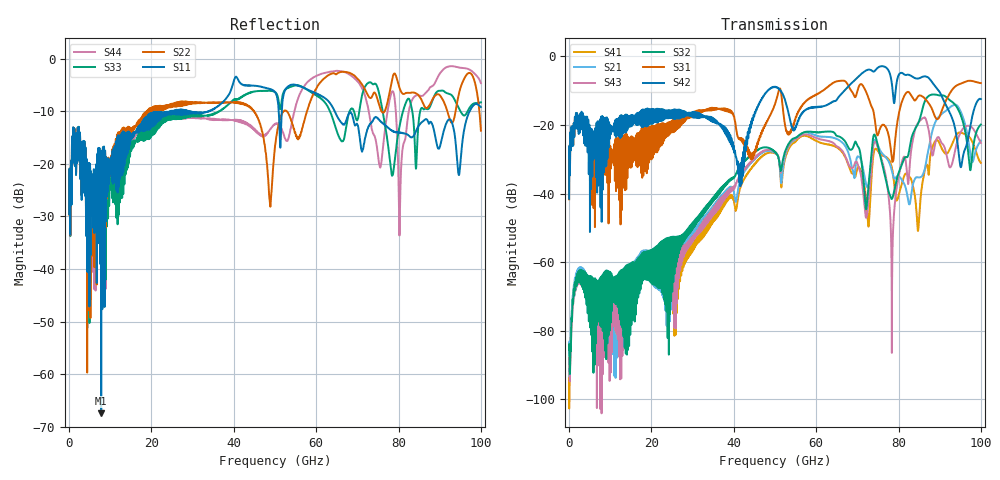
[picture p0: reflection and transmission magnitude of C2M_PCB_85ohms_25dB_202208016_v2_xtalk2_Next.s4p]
! Info: Touchstone file created by Circ.  Input file=Intel_C2M_200G_10p5in_202208016_staggered.circ
# Hz S RI R 50
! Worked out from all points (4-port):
!   10000 points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, 10 MHz to 100 GHz, reference 50 ohm
!   strongest paths, dB at 10 MHz, 25.01 GHz, 50.01 GHz, 75.01 GHz, 100 GHz:
!     S42: -41.5, -17.6, -8.9, -3.3, -12.5
!     S31: -41.7, -21.6, -13.9, -22.8, -7.8
!     S32: -83.9, -59.4, -28.0, -26.1, -19.9
!     S43: -87.8, -60.6, -28.0, -26.7, -25.2
!     S21: -93.2, -63.4, -28.2, -26.0, -24.6
!     S41: -91.6, -62.4, -28.3, -27.6, -31.1
!   lowest |S11| = -67.5 dB at 7.8 GHz (marker M1), VSWR 1.00, Z = 50 - j0.0408 ohm
!   |S11| at or under -10 dB: start of sweep to 24.41 GHz; 29.52 GHz to 33.8 GHz (4.279 GHz wide, 13.5 % of centre); 64.49 GHz to 97.26 GHz (32.77 GHz wide, 40.5 % of centre)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
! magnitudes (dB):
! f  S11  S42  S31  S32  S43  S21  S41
! 10 MHz  -29.5  -41.5  -41.7  -83.9  -87.8  -93.2  -91.6
! 7.8 GHz  -67.5  -17.6  -20.4  -65.1  -69.5  -67.5  -71.0
! 56.51 GHz  -5.3  -16.8  -14.4  -22.5  -23.0  -22.5  -23.3
! 74.53 GHz  -11.1  -3.8  -21.1  -23.8  -25.2  -24.7  -27.0
! 78.43 GHz  -13.7  -8.4  -30.2  -41.5  -66.7  -33.6  -32.7
! 85.11 GHz  -12.5  -6.3  -11.4  -18.5  -18.9  -35.3  -44.9
! 100 GHz  -9.2  -12.5  -7.8  -19.9  -25.2  -24.6  -31.1
